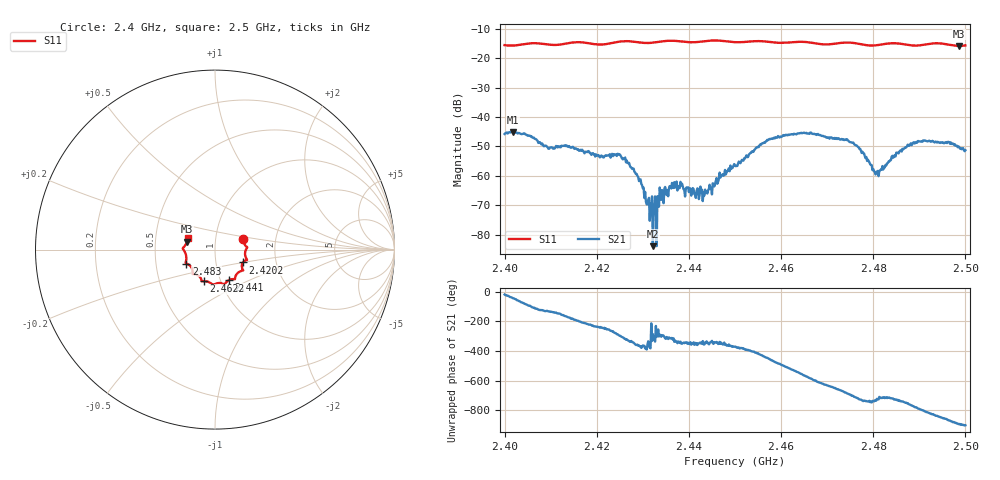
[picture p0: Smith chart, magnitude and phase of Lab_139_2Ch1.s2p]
# Hz S RI R 50
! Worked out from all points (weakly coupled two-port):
!   601 points, 2.4 GHz to 2.5 GHz, reference 50 ohm
!   highest |S21| = -45.06 dB at 2.4018 GHz (marker M1); lowest = -83.9 dB at 2.4322 GHz (marker M2)
!   lowest |S11| = -15.8 dB at 2.4987 GHz (marker M3), VSWR 1.39, Z = 36.4 + j3.32 ohm
!   |S11| at or under -10 dB: start of sweep to end of sweep
!   S12 and S22 are empty: the file has one direction only
!   S11 on the Smith chart (normalised r, x): 2.4 GHz: 1.36, +0.17; 2.4202 GHz: 1.35, -0.20; 2.441 GHz: 1.09, -0.39; 2.4622 GHz: 0.83, -0.30; 2.483 GHz: 0.72, -0.12; 2.5 GHz: 0.73, +0.09
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2.4e9  0.1562 0.0601  0.00488 -0.00165  0 0  0 0
2.401833e9  0.1602 0.0379  0.00405 -0.00384  0 0  0 0
2.416667e9  0.1776 -0.0581  -0.00239 0.00118  0 0  0 0
2.420167e9  0.1559 -0.0718  -0.00119 0.00187  0 0  0 0
2.4265e9  0.1569 -0.1166  0.00143 0.00113  0 0  0 0
2.432167e9  0.117 -0.1423  1.78e-05 6.1e-05  0 0  0 0
2.432667e9  0.1147 -0.1468  0.000411 0.000175  0 0  0 0
2.433333e9  0.1127 -0.1524  -0.000105 0.000394  0 0  0 0
2.436833e9  0.109 -0.1651  0.000724 0.000289  0 0  0 0
2.441e9  0.0766 -0.1706  0.000568 0.000182  0 0  0 0
2.4435e9  0.0588 -0.1866  0.000555 0.000179  0 0  0 0
2.45e9  0.0265 -0.186  0.00145 -0.000283  0 0  0 0
2.457167e9  -0.0196 -0.19  4.2e-05 -0.00404  0 0  0 0
2.462167e9  -0.0634 -0.1761  -0.00486 -0.00142  0 0  0 0
2.466667e9  -0.0763 -0.1668  -0.00342 0.00396  0 0  0 0
2.475833e9  -0.1256 -0.1313  0.00344 0.000603  0 0  0 0
2.480667e9  -0.1415 -0.0876  0.00107 -0.000302  0 0  0 0
2.483e9  -0.1591 -0.0781  0.00163 2.97e-05  0 0  0 0
2.483333e9  -0.1608 -0.0775  0.00176 9.36e-05  0 0  0 0
2.489667e9  -0.1627 -0.0259  0.00145 -0.00363  0 0  0 0
2.498667e9  -0.1556 0.0445  -0.00307 -0.000293  0 0  0 0
2.5e9  -0.1531 0.0632  -0.00272 0.000122  0 0  0 0
